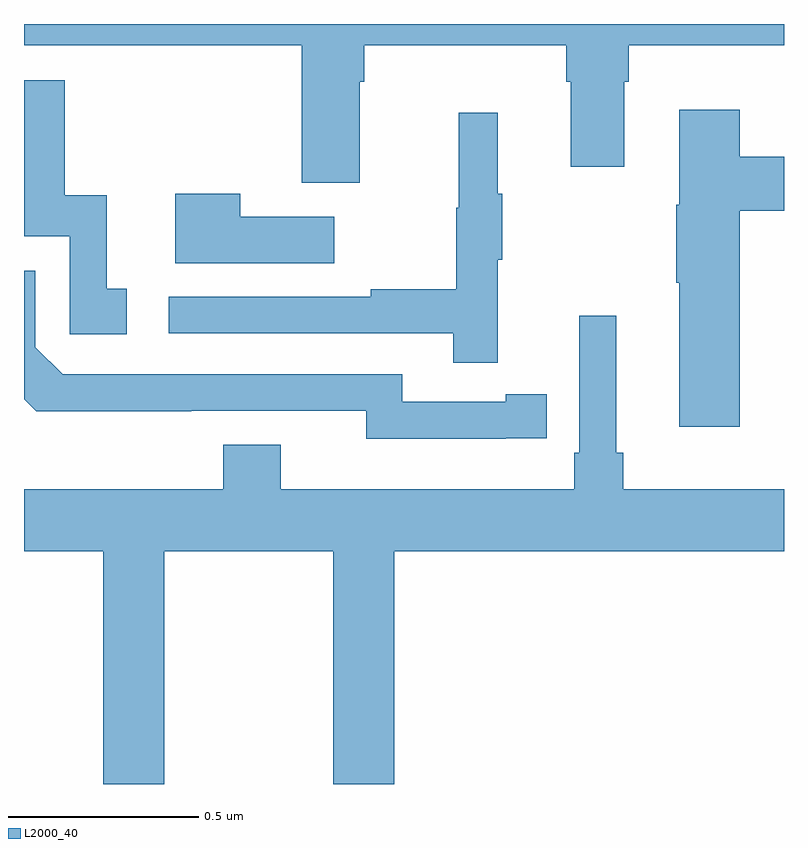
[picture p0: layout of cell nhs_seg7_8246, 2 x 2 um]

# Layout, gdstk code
import gdstk
lib = gdstk.Library(unit=1e-6, precision=1e-09)
def P(c, l, *ps):  # polygons
    for p in ps: c.add(gdstk.Polygon(p, *l))
L2000_40 = (2000, 40)

nhs_seg7_8246 = lib.new_cell('nhs_seg7_8246')
P(nhs_seg7_8246, L2000_40, [(222.883,1005.848),(222.896,1005.848),(222.896,1005.944),(223.427,1005.944),(223.427,1005.848),(223.439,1005.848),(223.439,1005.624),(223.579,1005.624),(223.579,1005.848),(223.592,1005.848),(223.592,1005.944),(224,1005.944),(224,1006),(222,1006),(222,1005.944),(222.731,1005.944),(222.731,1005.582),(222.883,1005.582)],
  [(222.271,1005.303),(222.218,1005.303),(222.218,1005.55),(222.107,1005.55),(222.107,1005.852),(222,1005.852),(222,1005.441),(222.12,1005.441),(222.12,1005.183),(222.271,1005.183)],
  [(223.883,1005.509),(224,1005.509),(224,1005.651),(223.883,1005.651),(223.883,1005.775),(223.724,1005.775),(223.724,1005.525),(223.717,1005.525),(223.717,1005.319),(223.724,1005.319),(223.724,1004.94),(223.883,1004.94)],
  [(223.247,1005.379),(223.258,1005.379),(223.258,1005.553),(223.247,1005.553),(223.247,1005.766),(223.144,1005.766),(223.144,1005.516),(223.137,1005.516),(223.137,1005.302),(222.913,1005.302),(222.913,1005.282),(222.381,1005.282),(222.381,1005.186),(223.129,1005.186),(223.129,1005.108),(223.247,1005.108)],
  [(222.817,1005.493),(222.569,1005.493),(222.569,1005.553),(222.398,1005.553),(222.398,1005.371),(222.817,1005.371)],
  [(223.268,1004.91),(223.376,1004.91),(223.376,1005.026),(223.268,1005.026),(223.268,1005.006),(222.996,1005.006),(222.996,1005.078),(222.102,1005.078),(222.03,1005.15),(222.03,1005.351),(222,1005.351),(222,1005.013),(222.032,1004.981),(222.44,1004.981),(222.44,1004.982),(222.9,1004.982),(222.9,1004.909),(223.268,1004.909)],
  [(222.369,1004.612),(222.814,1004.612),(222.814,1004),(222.974,1004),(222.974,1004.612),(224,1004.612),(224,1004.776),(223.577,1004.776),(223.577,1004.872),(223.558,1004.872),(223.558,1005.232),(223.461,1005.232),(223.461,1004.872),(223.448,1004.872),(223.448,1004.776),(222.676,1004.776),(222.676,1004.893),(222.524,1004.893),(222.524,1004.776),(222,1004.776),(222,1004.612),(222.209,1004.612),(222.209,1004),(222.369,1004)])

lib.write_gds('nhs_seg7_8246.gds')
